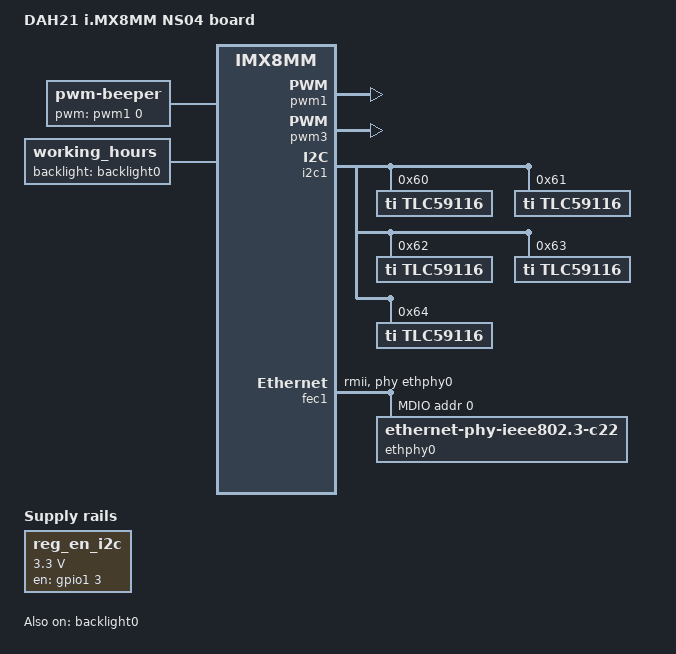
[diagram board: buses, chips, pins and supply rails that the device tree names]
/*
 * Copyright (C) 2019 Exor S.p.a
 * 
 * Written by: G. Pavoni Exor S.p.a.
 * 
 * Copyright (C) 2013 Freescale Semiconductor, Inc.
 *
 * This program is free software; you can redistribute it and/or modify
 * it under the terms of the GNU General Public License version 2 as
 * published by the Free Software Foundation.
 */
  
/dts-v1/;
  
#include "imx8mm_ns04.dtsi"
  
/ {
	model = "DAH21 i.MX8MM NS04 board";
	compatible = "fsl,imx8mm-evk", "fsl,imx8mm";

	beeper {
		compatible = "pwm-beeper";
		pwms = <&pwm1 0 50000 0>;
	};

	working_hours {
	  compatible = "working_hours";
	  nvmem-names = "eeprom", "rtcnvram";
	  nvmem = <&seeprom0>, <&m41t83>;
	  backlight = <&backlight0>;
	  status = "okay";
	};	
	
	regulators {
        reg_en_i2c: i2c_regulator {
            compatible = "regulator-fixed";
            reg = <4>;
            regulator-name = "i2c_regulator";
            regulator-min-microvolt = <3300000>;
            regulator-max-microvolt = <3300000>;
            gpio = <&gpio1 3 0>;
            enable-active-high;
            regulator-boot-on;
            regulator-always-on;
        };	
	};
};

&backlight0 {
    compatible = "pwm-backlight";
    pwms = <&pwm3 0 50000 0>;
    brightness-levels = <0 4 8 12 16 20 24 28 32 36 40 44 48 52 56 60 64 68 72 76 80 84 88 92 96 100>;
    default-brightness-level = <0>;
    enable-gpios = <&gpio5 5 0>;
    status = "okay";
};

&pwm1 {
	pinctrl-names = "default";
	pinctrl-0 = <&pinctrl_pwm1>;
	status = "okay";
};

&pwm3 {
	pinctrl-names = "default";
	pinctrl-0 = <&pinctrl_pwm3>;
	status = "okay";
};

&i2c1 {

	tlc59116@60 {
		#address-cells = <1>;
		#size-cells = <0>;
		compatible = "ti,tlc59116";
		reg = <0x60>;

		led1_r@0 {
			label = "led1_r";
			reg = <0x0>;
		};
		led1_g@1 {
			label = "led1_g";
			reg = <0x1>;
		};
		led1_y@2 {
			label = "led1_y";
			reg = <0x2>;
		};

		led2_r@4 {
			label = "led2_r";
			reg = <0x4>;
		};
		led2_g@5 {
			label = "led2_g";
			reg = <0x5>;
		};
		led2_y@6 {
			label = "led2_y";
			reg = <0x6>;
		};

		led3_r@8 {
			label = "led3_r";
			reg = <0x8>;
		};
		led3_g@9 {
			label = "led3_g";
			reg = <0x9>;
		};
		led3_y@a {
			label = "led3_y";
			reg = <0xa>;
		};

		led4_r@c {
			label = "led4_r";
			reg = <0xc>;
		};
		led4_g@d {
			label = "led4_g";
			reg = <0xd>;
		};
		led4_y@e {
			label = "led4_y";
			reg = <0xe>;
		};	
	};
	
	tlc59116@61 {
		#address-cells = <1>;
		#size-cells = <0>;
		compatible = "ti,tlc59116";
		reg = <0x61>;

		led5_r@0 {
			label = "led5_r";
			reg = <0x0>;
		};
		led5_g@1 {
			label = "led5_g";
			reg = <0x1>;
		};
		led5_y@2 {
			label = "led5_y";
			reg = <0x2>;
		};

		led6_r@4 {
			label = "led6_r";
			reg = <0x4>;
		};
		led6_g@5 {
			label = "led6_g";
			reg = <0x5>;
		};
		led6_y@6 {
			label = "led6_y";
			reg = <0x6>;
		};

		led7_r@8 {
			label = "led7_r";
			reg = <0x8>;
		};
		led7_g@9 {
			label = "led7_g";
			reg = <0x9>;
		};
		led7_y@a {
			label = "led7_y";
			reg = <0xa>;
		};

		led8_r@c {
			label = "led8_r";
			reg = <0xc>;
		};
		led8_g@d {
			label = "led8_g";
			reg = <0xd>;
		};
		led8_y@e {
			label = "led8_y";
			reg = <0xe>;
		};	
	};	
	
	tlc59116@62 {
		#address-cells = <1>;
		#size-cells = <0>;
		compatible = "ti,tlc59116";
		reg = <0x62>;

		led9_r@0 {
			label = "led9_r";
			reg = <0x0>;
		};
		led9_g@1 {
			label = "led9_g";
			reg = <0x1>;
		};
		led9_y@2 {
			label = "led9_y";
			reg = <0x2>;
		};

		led10_r@4 {
			label = "led10_r";
			reg = <0x4>;
		};
		led10_g@5 {
			label = "led10_g";
			reg = <0x5>;
		};
		led10_y@6 {
			label = "led10_y";
			reg = <0x6>;
		};

		led11_r@8 {
			label = "led11_r";
			reg = <0x8>;
		};
		led11_g@9 {
			label = "led11_g";
			reg = <0x9>;
		};
		led11_y@a {
			label = "led11_y";
			reg = <0xa>;
		};

		led12_r@c {
			label = "led12_r";
			reg = <0xc>;
		};
		led12_g@d {
			label = "led12_g";
			reg = <0xd>;
		};
		led12_y@e {
			label = "led12_y";
			reg = <0xe>;
		};	
	};	
	
	tlc59116@63 {
		#address-cells = <1>;
		#size-cells = <0>;
		compatible = "ti,tlc59116";
		reg = <0x63>;

		led13_r@0 {
			label = "led13_r";
			reg = <0x0>;
		};
		led13_g@1 {
			label = "led13_g";
			reg = <0x1>;
		};
		led13_y@2 {
			label = "led13_y";
			reg = <0x2>;
		};

		led14_r@4 {
			label = "led14_r";
			reg = <0x4>;
		};
		led14_g@5 {
			label = "led14_g";
			reg = <0x5>;
		};
		led14_y@6 {
			label = "led14_y";
			reg = <0x6>;
		};

		led15_r@8 {
			label = "led15_r";
			reg = <0x8>;
		};
		led15_g@9 {
			label = "led15_g";
			reg = <0x9>;
		};
		led15_y@a {
			label = "led15_y";
			reg = <0xa>;
		};

		led16_r@c {
			label = "led16_r";
			reg = <0xc>;
		};
		led16_g@d {
			label = "led16_g";
			reg = <0xd>;
		};
		led16_y@e {
			label = "led16_y";
			reg = <0xe>;
		};	
	};		
	
	tlc59116@64 {
		#address-cells = <1>;
		#size-cells = <0>;
		compatible = "ti,tlc59116";
		reg = <0x64>;

		led17_r@4 {
			label = "led17_r";
			reg = <0x4>;
		};
		led17_g@5 {
			label = "led17_g";
			reg = <0x5>;
		};
		led17_y@6 {
			label = "led17_y";
			reg = <0x6>;
		};

		led18_r@8 {
			label = "led18_r";
			reg = <0x8>;
		};
		led18_g@9 {
			label = "led18_g";
			reg = <0x9>;
		};
		led18_y@a {
			label = "led18_y";
			reg = <0xa>;
		};
	};			
};

&fec1 {
	pinctrl-names = "default";
	pinctrl-0 = <&pinctrl_fec1>;
	phy-mode = "rmii";
	phy-handle = <&ethphy0>;
	fsl,magic-packet;
	status = "okay";

	mdio {
		#address-cells = <1>;
		#size-cells = <0>;

		ethphy0: ethernet-phy@0 {
			compatible = "ethernet-phy-ieee802.3-c22";
			max-speed = <100>;
			reg = <0>;
		};
	};
};

&dsi_lvds_bridge{
		enable-gpios = <&gpio3 4 GPIO_ACTIVE_HIGH>;
};

&iomuxc {
	imx8mm-evk {

		pinctrl_hog: hoggrp {
			fsl,pins = <
				MX8MM_IOMUXC_NAND_CE2_B_GPIO3_IO3       0x1c4   /* eco2xx Wifi Reset */
				MX8MM_IOMUXC_NAND_CE3_B_GPIO3_IO4       0x1c4   /* eco2xx LVDS ena */	
			>;
		};

        pinctrl_i2c1: i2c1grp {
			fsl,pins = <
				MX8MM_IOMUXC_GPIO1_IO03_GPIO1_IO3			0x1c4
				MX8MM_IOMUXC_GPIO1_IO01_GPIO1_IO1			0x1c4
			>;
		};		
		
		pinctrl_pwm3: pwm3grp {
			fsl,pins = <
				MX8MM_IOMUXC_SPDIF_TX_PWM3_OUT            0x1c4
				MX8MM_IOMUXC_SPDIF_EXT_CLK_GPIO5_IO5      0x1c4
			>;
		};

		pinctrl_pwm1: pwm1grp {
			fsl,pins = <
				MX8MM_IOMUXC_I2C4_SDA_PWM1_OUT            0x1c4
			>;
		};

		pinctrl_pcie0: pcie0grp {
			fsl,pins = <
				MX8MM_IOMUXC_NAND_RE_B_GPIO3_IO15         0x1c4
			>;
		};

		pinctrl_fec1: fec1grp {
			fsl,pins = <
				MX8MM_IOMUXC_ENET_MDC_ENET1_MDC		0x3
				MX8MM_IOMUXC_ENET_MDIO_ENET1_MDIO	0x3
				MX8MM_IOMUXC_ENET_TD2_ENET1_TX_CLK	0x4000001f
				MX8MM_IOMUXC_ENET_TD1_ENET1_RGMII_TD1	0x56
				MX8MM_IOMUXC_ENET_TD0_ENET1_RGMII_TD0	0x56
				MX8MM_IOMUXC_ENET_RD1_ENET1_RGMII_RD1	0x56
				MX8MM_IOMUXC_ENET_RD0_ENET1_RGMII_RD0	0x56
				MX8MM_IOMUXC_ENET_RXC_ENET1_RX_ER	0x56
				MX8MM_IOMUXC_ENET_RX_CTL_ENET1_RGMII_RX_CTL	0x56
				MX8MM_IOMUXC_ENET_TX_CTL_ENET1_RGMII_TX_CTL	0x56
			>;
		};
	};
};

